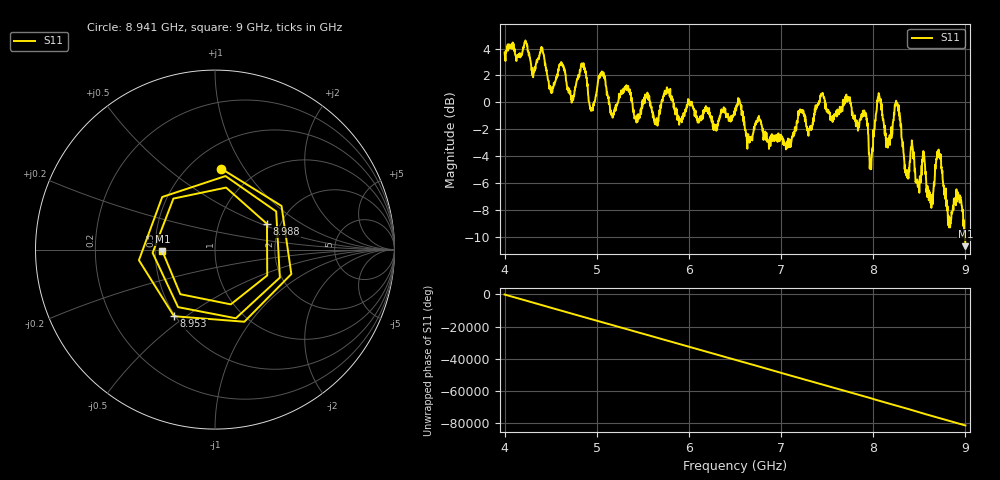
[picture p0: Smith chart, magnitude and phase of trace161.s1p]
! Created with skrf 1.8.0 (http://scikit-rf.org).
# Hz S RI R 50.0
!freq ReS11 ImS11
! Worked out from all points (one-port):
!   1601 points, 4 GHz to 9 GHz, reference 50 ohm
!   lowest |S11| = -10.7 dB at 9 GHz (marker M1), VSWR 1.83, Z = 27.3 - j0.547 ohm
!   |S11| at or under -10 dB: 8.995461 GHz to end of sweep
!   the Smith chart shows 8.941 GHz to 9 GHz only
!   S11 on the Smith chart (normalised r, x): 8.941 GHz: 0.70, +0.79; 8.953 GHz: 0.49, -0.45; 8.988 GHz: 1.70, +0.55; 9 GHz: 0.55, -0.01
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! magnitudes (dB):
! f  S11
! 4 GHz  3.7
! 4.406 GHz  4.0
! 4.506 GHz  0.7
! 4.625 GHz  2.9
! 4.731 GHz  0.3
! 4.856 GHz  2.9
! 4.944 GHz  -0.4
! 5.05 GHz  2.2
! 5.162 GHz  -0.9
! 5.25 GHz  0.4
! 5.875 GHz  -1.3
! 6.5 GHz  -0.5
! 7.125 GHz  -2.6
! 7.75 GHz  0.1
! 7.916 GHz  -0.9
! 7.972 GHz  -4.6
! 8.059 GHz  0.7
! 8.162 GHz  -2.7
! 8.259 GHz  0.0
! 8.375 GHz  -5.3
! 8.547 GHz  -4.2
! 8.628 GHz  -7.5
! 8.709 GHz  -3.5
! 8.825 GHz  -8.5
! 8.941 GHz  -6.9
! 8.953 GHz  -7.2
! 8.988 GHz  -9.8
! 9 GHz  -10.7
